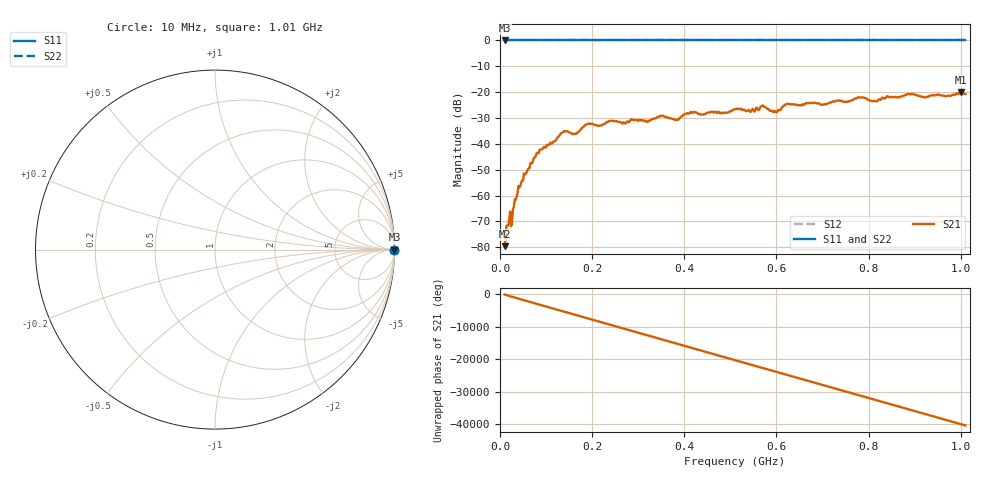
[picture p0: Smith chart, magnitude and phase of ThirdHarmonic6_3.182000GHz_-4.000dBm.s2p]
! 8/17/2025 9:36:37 AM
! C:\ANRITSUVNA\TEMP\TEMP.S2P
! CHANNEL.1
! TR.MEASUREMENT
! RAW.DATA
! RF.CORRECTION.OFF
! AVERAGING.OFF
! IF.BANDWIDTH: 5KHZ
! SWEEPTYPE:  FREQ.SWEEP(Linear)
! Reference Plane Port Info
! PORT:  PORT1  PORT2
! DISTANCE:  0  m  0  m
! TIME:  0  s  0  s
! PHASE.OFFSET:  0  deg.  0  deg.
! LOSS:  0  dB  0  dB
! REF.LOSS:  0  dB  0  dB
! REF.FREQ:  0  Hz  0  Hz
! Power Info
! POWER:  -20  dBm  -20  dBm
! EFF.POWER:  -20  dBm  -20  dBm
! SOURCE.ATTEN:  0  dB  0  dB
! TEST.ATTEN:  0  dB  0  dB
# GHZ S RI R 50.0
! FREQ.GHZ  S11RE  S11IM  S21RE  S21IM  S12RE  S12IM  S22RE  S22IM
!; PortSelection: Port_12
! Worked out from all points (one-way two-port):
!   501 points, 10 MHz to 1.01 GHz, reference 50 ohm
!   highest |S21| = -20.03 dB at 1 GHz (marker M1); lowest = -79.6 dB at 10 MHz (marker M2)
!   lowest |S11| = 0.0 dB at 10 MHz (marker M3)
!   |S11| at or under -10 dB: nowhere
!   |S22| runs from 0.0 to 0.0 dB; largest |S21 - S12| = 1.1
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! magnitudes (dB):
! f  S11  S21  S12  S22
! 10 MHz  0.0  -79.6  0.0  0.0
! 18 MHz  0.0  -71.6  0.0  0.0
! 28 MHz  0.0  -65.5  0.0  0.0
! 36 MHz  0.0  -60.7  0.0  0.0
! 44 MHz  0.0  -56.3  0.0  0.0
! 78 MHz  0.0  -44.5  0.0  0.0
! 136 MHz  0.0  -35.5  0.0  0.0
! 162 MHz  0.0  -36.1  0.0  0.0
! 178 MHz  0.0  -33.8  0.0  0.0
! 192 MHz  0.0  -32.2  0.0  0.0
! 322 MHz  0.0  -31.2  0.0  0.0
! 344 MHz  0.0  -29.6  0.0  0.0
! 384 MHz  0.0  -30.7  0.0  0.0
! 418 MHz  0.0  -28.0  0.0  0.0
! 510 MHz  0.0  -26.6  0.0  0.0
! 570 MHz  0.0  -25.1  0.0  0.0
! 598 MHz  0.0  -27.5  0.0  0.0
! 622 MHz  0.0  -24.6  0.0  0.0
! 678 MHz  0.0  -24.2  0.0  0.0
! 844 MHz  0.0  -22.0  0.0  0.0
! 1 GHz  0.0  -20.0  0.0  0.0
! 1.01 GHz  0.0  -20.7  0.0  0.0
